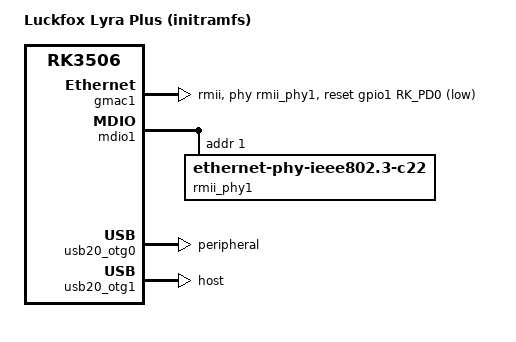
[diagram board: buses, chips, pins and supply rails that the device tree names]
// SPDX-License-Identifier: (GPL-2.0+ OR MIT)
/*
 * Luckfox Lyra Plus (RK3506G2) — variante initramfs per il bring-up.
 *
 * Derivato da arch/arm/boot/dts/rk3506g-luckfox-lyra-plus.dts del kernel
 * vendor (Copyright (c) 2024 Rockchip Electronics Co., Ltd).
 *
 * Unica differenza sostanziale: i bootargs. Il rootfs e' incorporato nel
 * kernel come initramfs (CONFIG_INITRAMFS_SOURCE, impostato da Buildroot
 * quando BR2_TARGET_ROOTFS_INITRAMFS=y), quindi non c'e' nessun root da
 * montare: via `root=`, `rootfstype=`, `rootwait` e `ubi.mtd=`.
 *
 * Perche' un DTS separato invece di riusare quello in-tree: con un
 * initramfs incorporato il kernel esegue /init e non arriva mai a
 * prepare_namespace(), quindi il `root=ubi0:rootfs` del DTS vendor sarebbe
 * innocuo — ma `ubi.mtd=2` farebbe comunque attaccare la UBI in fase di
 * boot. In bring-up si vuole escludere lo storage dall'equazione: se la
 * board arriva alla shell con questa immagine, NAND e UBI non c'entrano.
 *
 * Buildroot lo copia in arch/arm/boot/dts/ prima della build
 * (BR2_LINUX_KERNEL_CUSTOM_DTS_PATH), percio' gli #include relativi al
 * kernel vendor si risolvono.
 */

/dts-v1/;

#include "rk3506-luckfox-lyra.dtsi"

/ {
	model = "Luckfox Lyra Plus (initramfs)";
	compatible = "rockchip,rk3506g-demo-display-control", "rockchip,rk3506";

	chosen {
		bootargs = "earlycon=uart8250,mmio32,0xff0a0000 console=ttyFIQ0 snd_aloop.index=7 snd_aloop.use_raw_jiffies=1";
	};
};

/**********ethernet**********/
&gmac1 {
	phy-mode = "rmii";
	clock_in_out = "output";

	snps,reset-gpio = <&gpio1 RK_PD0 GPIO_ACTIVE_LOW>;
	snps,reset-active-low;
	snps,reset-delays-us = <0 20000 100000>;

	pinctrl-names = "default";
	pinctrl-0 = <&eth_rmii1_miim_pins &eth_rmii1_tx_bus2_pins &eth_rmii1_rx_bus2_pins &eth_rmii1_clk_pins>;

	phy-handle = <&rmii_phy1>;
	status = "okay";
};

&mdio1 {
	rmii_phy1: phy@1 {
		compatible = "ethernet-phy-ieee802.3-c22";
		reg = <0x1>;
	};
};

/**********usb**********/
&usb20_otg0 {
	dr_mode = "peripheral";
	status = "okay";
};

&usb20_otg1 {
	dr_mode = "host";
	status = "okay";
};

/*
 * Display e CMA: NON sono disattivati in questa variante. Misurato sulla
 * board, non dedotto:
 *
 *     rockchip-drm display-subsystem: bound ff600000.vop
 *     rockchip-drm display-subsystem: bound ff640000.dsi
 *     [drm] fb0: rockchipdrmfb frame buffer device
 *     CmaTotal:  32768 kB      MemTotal:  89216 kB
 *
 * Ad abilitarli e' rk3506-luckfox-lyra.dtsi, cioe' il dtsi incluso qui sopra:
 * mette status = "okay" su &display_subsystem, &route_dsi, &vop, &dsi,
 * &dsi_dphy e &dsi_in_vop, e porta &cma a size = <0x2000000> (32 MiB). Il
 * default a 0x0 sta in rk3506.dtsi ed e' proprio quello che quel dtsi
 * sovrascrive; nel kernel CONFIG_CMA_SIZE_MBYTES=0, quindi la riserva arriva
 * tutta dal DT. Includere il dtsi senza override lascia tutto acceso.
 *
 * Nemmeno il kernel li esclude: dei simboli =y di rk3506-display.config — il
 * fragment che board/lyra-plus/linux.config non applica — mancano solo quattro
 * driver touchscreen; tutto il resto dello stack DRM/VOP/DSI e' gia' nel
 * defconfig vendor rk3506_luckfox_defconfig.
 *
 * Spegnerli davvero richiederebbe override espliciti qui:
 *
 *     &cma { size = <0x0>; };
 *     &display_subsystem { status = "disabled"; };
 *     // idem &vop, &dsi, &dsi_dphy, &dsi_in_vop, &route_dsi
 *
 * Varrebbe 32 MiB su 128 proprio nella variante dove il rootfs vive in RAM.
 * Non si fa qui: il perche' e' in docs/BOARD-FACTS.md, sezione "I 32 MiB di
 * CMA, e perche' restano".
 *
 * Con il pannello DSI scollegato lo stack sale lo stesso e lascia a log
 * "failed to find panel or bridge: -517", "Expected bpc in {6,8} but got: 0"
 * e "ws_backlight 2-0045: failed ret: -6". Sono attesi, non regressioni.
 */
